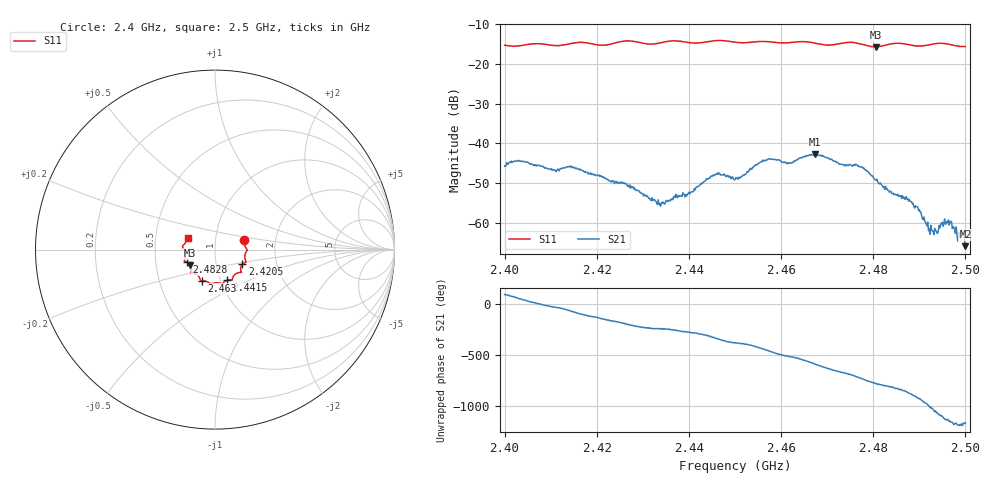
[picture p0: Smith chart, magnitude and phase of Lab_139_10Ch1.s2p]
# Hz S RI R 50
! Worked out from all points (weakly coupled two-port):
!   601 points, 2.4 GHz to 2.5 GHz, reference 50 ohm
!   highest |S21| = -42.77 dB at 2.4673 GHz (marker M1); lowest = -65.9 dB at 2.5 GHz (marker M2)
!   lowest |S11| = -15.7 dB at 2.4805 GHz (marker M3), VSWR 1.39, Z = 37.3 - j6.69 ohm
!   |S11| at or under -10 dB: start of sweep to end of sweep
!   S12 and S22 are empty: the file has one direction only
!   S11 on the Smith chart (normalised r, x): 2.4 GHz: 1.38, +0.15; 2.4205 GHz: 1.34, -0.23; 2.4415 GHz: 1.07, -0.38; 2.463 GHz: 0.82, -0.29; 2.4828 GHz: 0.72, -0.10; 2.5 GHz: 0.73, +0.10
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2.4e9  0.1638 0.0518  -0.000109 0.00521  0 0  0 0
2.403333e9  0.1686 0.0155  0.00384 0.00467  0 0  0 0
2.410833e9  0.1685 -0.0237  0.00385 -0.00244  0 0  0 0
2.416667e9  0.173 -0.07  -0.000954 -0.00452  0 0  0 0
2.4205e9  0.1522 -0.0816  -0.003 -0.00263  0 0  0 0
2.426e9  0.1474 -0.1258  -0.00314 0.000576  0 0  0 0
2.433333e9  0.1004 -0.1515  -0.000892 0.00174  0 0  0 0
2.4415e9  0.0656 -0.1706  0.000762 0.00266  0 0  0 0
2.446167e9  0.0411 -0.1929  0.00402 0.00135  0 0  0 0
2.45e9  0.0243 -0.1863  0.00325 -0.00128  0 0  0 0
2.457e9  -0.0261 -0.1891  -0.000507 -0.0062  0 0  0 0
2.463e9  -0.0722 -0.1739  -0.00582 -0.00152  0 0  0 0
2.466667e9  -0.0822 -0.1669  -0.00568 0.00438  0 0  0 0
2.467333e9  -0.0837 -0.1626  -0.00485 0.00542  0 0  0 0
2.476667e9  -0.1325 -0.1248  0.00514 0.000322  0 0  0 0
2.4805e9  -0.1389 -0.0873  0.00174 -0.00301  0 0  0 0
2.482833e9  -0.1587 -0.07  0.000358 -0.00265  0 0  0 0
2.483333e9  -0.1625 -0.0682  0.000116 -0.00255  0 0  0 0
2.488167e9  -0.1664 -0.0449  -0.00175 -0.000611  0 0  0 0
2.492667e9  -0.1763 0.00729  0.000389 0.000724  0 0  0 0
2.4965e9  -0.1743 0.0268  0.000479 -0.000813  0 0  0 0
2.5e9  -0.1525 0.0645  5.61e-05 -0.000507  0 0  0 0
